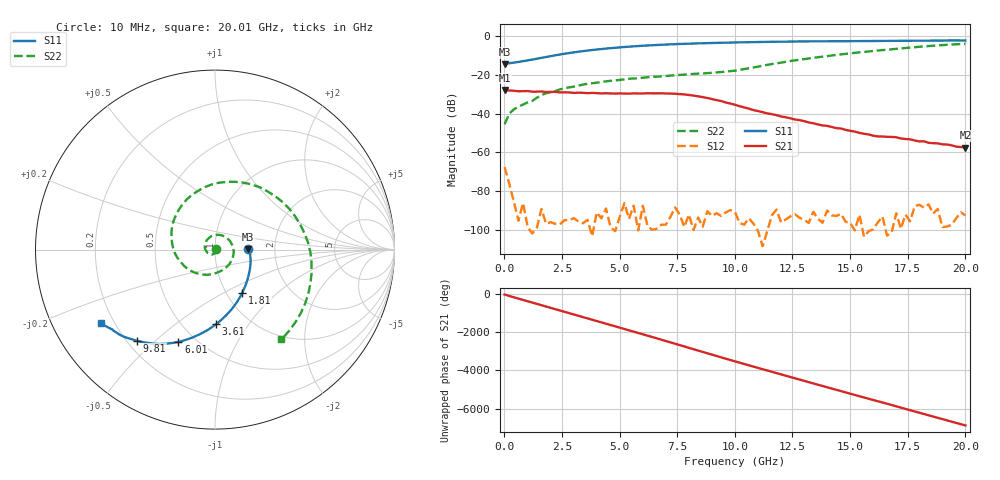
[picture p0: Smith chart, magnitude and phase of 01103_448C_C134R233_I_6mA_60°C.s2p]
!;Filter: kein Filter
!auto
!3/21/2019 9:27:54 AM
!3/21/2019 9:28:10 AM
!SP-Measurements Prober G4
!SP-Measurements Prober G4
!01103_448C
!134
!233
!12
!60
!-20
!0.00599970
!2.02
!0.74959551
!0.74959551
# Hz S  RI  R 50
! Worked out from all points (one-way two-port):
!   101 points, 10 MHz to 20.01 GHz, reference 50 ohm
!   highest |S21| = -27.92 dB at 10 MHz (marker M1); lowest = -57.5 dB at 20.01 GHz (marker M2)
!   lowest |S11| = -14.7 dB at 10 MHz (marker M3), VSWR 1.45, Z = 72.6 + j0.568 ohm
!   |S11| at or under -10 dB: start of sweep to 2.238 GHz
!   |S22| runs from -45.5 to -4.1 dB; largest |S21 - S12| = 0.041
!   S11 on the Smith chart (normalised r, x): 10 MHz: 1.45, +0.01; 1.81 GHz: 1.18, -0.62; 3.61 GHz: 0.71, -0.72; 6.01 GHz: 0.41, -0.60; 9.81 GHz: 0.24, -0.44; 20.01 GHz: 0.15, -0.29
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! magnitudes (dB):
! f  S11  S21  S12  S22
! 10 MHz  -14.7  -27.9  -67.5  -45.5
! 210 MHz  -14.1  -28.2  -76.0  -40.1
! 410 MHz  -13.8  -28.3  -85.3  -37.9
! 1.01 GHz  -12.7  -28.4  -98.3  -34.3
! 1.21 GHz  -12.3  -28.8  -101.7  -33.5
! 1.61 GHz  -11.4  -28.7  -89.1  -30.4
! 1.81 GHz  -10.9  -28.9  -96.7  -29.6
! 2.61 GHz  -9.3  -29.1  -94.9  -26.9
! 3.41 GHz  -7.9  -29.3  -96.4  -25.1
! 3.61 GHz  -7.6  -29.5  -94.7  -24.7
! 6.01 GHz  -5.1  -29.7  -87.4  -21.6
! 6.81 GHz  -4.6  -29.6  -97.2  -20.9
! 7.81 GHz  -4.2  -30.2  -98.3  -20.0
! 8.41 GHz  -3.9  -31.1  -93.5  -19.5
! 9.81 GHz  -3.5  -34.9  -89.6  -18.2
! 10.01 GHz  -3.5  -35.5  -90.7  -17.9
! 11.41 GHz  -3.1  -39.9  -100.4  -15.0
! 13.41 GHz  -2.9  -45.0  -90.5  -11.4
! 16.01 GHz  -2.7  -51.4  -99.6  -7.9
! 16.81 GHz  -2.6  -52.0  -101.0  -7.0
! 18.41 GHz  -2.5  -55.1  -86.7  -5.3
! 20.01 GHz  -2.4  -57.5  -92.4  -4.1
